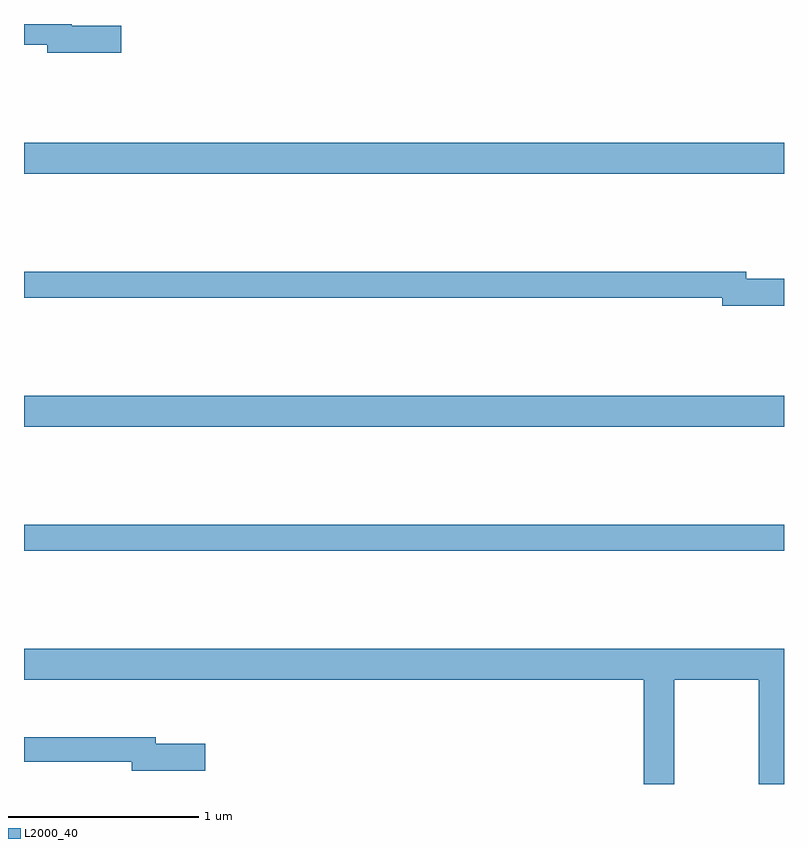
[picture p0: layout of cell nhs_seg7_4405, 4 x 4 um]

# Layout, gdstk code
import gdstk
lib = gdstk.Library(unit=1e-6, precision=1e-09)
def R(c, l, rs):  # rectangles x0, y0, x1, y1
    for r in rs: c.add(gdstk.rectangle(r[:2], r[2:], *l))
def P(c, l, *ps):  # polygons
    for p in ps: c.add(gdstk.Polygon(p, *l))
L2000_40 = (2000, 40)

nhs_seg7_4405 = lib.new_cell('nhs_seg7_4405')
R(nhs_seg7_4405, L2000_40, [(387,1069.228,391,1069.364), (387,1069.88,391,1070.044), (387,1071.212,391,1071.376)])
P(nhs_seg7_4405, L2000_40, [(387.511,1071.992),(387.25,1071.992),(387.25,1072),(387,1072),(387,1071.892),(387.122,1071.892),(387.122,1071.85),(387.511,1071.85)],
  [(391,1070.66),(390.802,1070.66),(390.802,1070.696),(387,1070.696),(387,1070.56),(390.674,1070.56),(390.674,1070.518),(391,1070.518)],
  [(390.423,1068.548),(390.868,1068.548),(390.868,1068),(391,1068),(391,1068.712),(387,1068.712),(387,1068.548),(390.263,1068.548),(390.263,1068),(390.423,1068)],
  [(387.955,1068.213),(387.694,1068.213),(387.694,1068.247),(387,1068.247),(387,1068.118),(387.566,1068.118),(387.566,1068.071),(387.955,1068.071)])

lib.write_gds('nhs_seg7_4405.gds')
